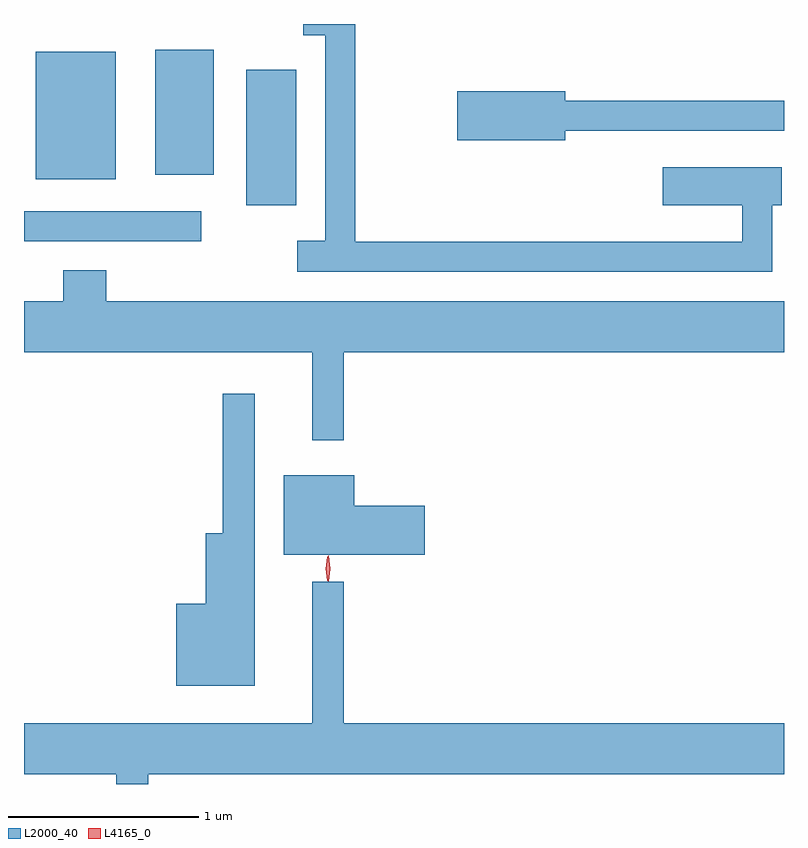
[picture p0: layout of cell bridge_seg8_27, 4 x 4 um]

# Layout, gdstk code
import gdstk
lib = gdstk.Library(unit=1e-6, precision=1e-09)
def R(c, l, rs):  # rectangles x0, y0, x1, y1
    for r in rs: c.add(gdstk.rectangle(r[:2], r[2:], *l))
def P(c, l, *ps):  # polygons
    for p in ps: c.add(gdstk.Polygon(p, *l))
L2000_40 = (2000, 40)
L4165_0 = (4165, 0)

bridge_seg8_27 = lib.new_cell('bridge_seg8_27')
R(bridge_seg8_27, L2000_40, [(1741.115,1890.281,1742.048,1890.439), (1742.286,1890.471,1742.549,1891.184), (1741.176,1890.606,1741.599,1891.279), (1741.806,1890.631,1742.114,1891.289)])
P(bridge_seg8_27, L2000_40, [(1745.054,1890.471),(1745.104,1890.471),(1745.104,1890.669),(1744.476,1890.669),(1744.476,1890.471),(1744.896,1890.471),(1744.896,1890.279),(1742.859,1890.279),(1742.859,1891.424),(1742.586,1891.424),(1742.586,1891.366),(1742.701,1891.366),(1742.701,1890.284),(1742.553,1890.284),(1742.553,1890.121),(1745.054,1890.121)],
  [(1743.964,1890.861),(1745.115,1890.861),(1745.115,1891.019),(1743.964,1891.019),(1743.964,1891.069),(1743.396,1891.069),(1743.396,1890.811),(1743.964,1890.811)],
  [(1742.799,1889.696),(1745.115,1889.696),(1745.115,1889.964),(1741.549,1889.964),(1741.549,1890.129),(1741.321,1890.129),(1741.321,1889.964),(1741.115,1889.964),(1741.115,1889.696),(1742.631,1889.696),(1742.631,1889.233),(1742.799,1889.233)],
  [(1742.329,1889.478),(1742.161,1889.478),(1742.161,1888.744),(1742.071,1888.744),(1742.071,1888.374),(1741.916,1888.374),(1741.916,1887.941),(1742.329,1887.941)],
  [(1743.224,1888.889),(1742.854,1888.889),(1742.854,1889.049),(1742.481,1889.049),(1742.481,1888.631),(1743.224,1888.631)],
  [(1741.769,1887.476),(1745.115,1887.476),(1745.115,1887.744),(1742.799,1887.744),(1742.799,1888.488),(1742.631,1888.488),(1742.631,1887.744),(1741.115,1887.744),(1741.115,1887.476),(1741.601,1887.476),(1741.601,1887.424),(1741.769,1887.424)])
P(bridge_seg8_27, L4165_0, [(1742.717,1888.49),(1742.717,1888.49),(1742.707,1888.558),(1742.717,1888.626),(1742.717,1888.626),(1742.718,1888.626),(1742.727,1888.558),(1742.718,1888.49)],
  [(1742.712,1888.493),(1742.702,1888.556),(1742.712,1888.619),(1742.712,1888.62),(1742.713,1888.619),(1742.722,1888.556),(1742.713,1888.493),(1742.713,1888.493)])

lib.write_gds('bridge_seg8_27.gds')
